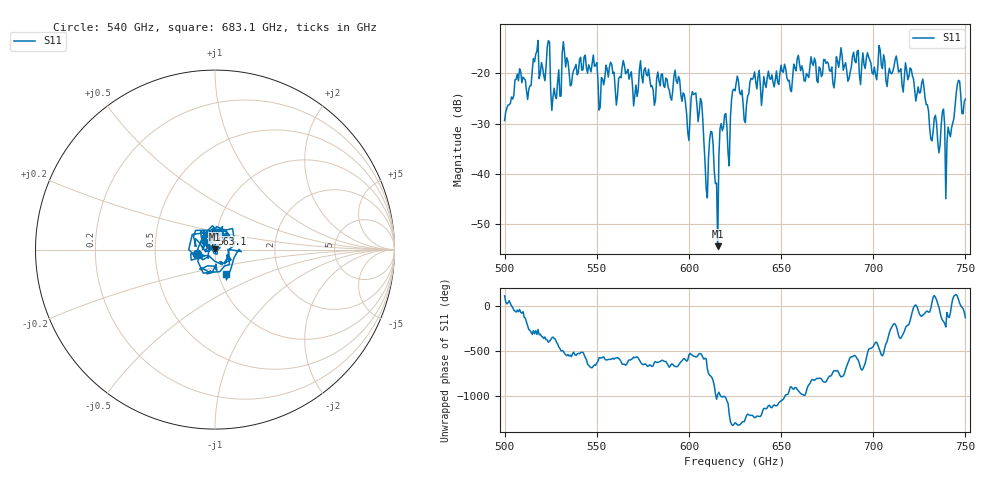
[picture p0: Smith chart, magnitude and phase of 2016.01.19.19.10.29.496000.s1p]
!Created with skrf (http://scikit-rf.org).
# GHz S RI R 50.0
!freq ReS11 ImS11
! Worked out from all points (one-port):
!   401 points, 500 GHz to 750 GHz, reference 50 ohm
!   lowest |S11| = -54.3 dB at 615.6 GHz (marker M1), VSWR 1.00, Z = 50 + j0.192 ohm
!   |S11| at or under -10 dB: start of sweep to end of sweep
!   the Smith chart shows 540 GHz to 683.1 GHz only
!   S11 on the Smith chart (normalised r, x): 540 GHz: 0.82, -0.04; 563.1 GHz: 0.95, +0.17; 683.1 GHz: 1.09, -0.30
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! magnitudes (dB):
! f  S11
! 500 GHz  -29.4
! 513.1 GHz  -23.1
! 516.9 GHz  -16.2
! 523.8 GHz  -13.5
! 526.9 GHz  -22.9
! 531.2 GHz  -15.9
! 540 GHz  -19.8
! 562.5 GHz  -20.6
! 563.1 GHz  -20.9
! 593.8 GHz  -22.0
! 599.4 GHz  -31.7
! 603.1 GHz  -24.0
! 606.9 GHz  -25.7
! 609.4 GHz  -43.0
! 611.9 GHz  -31.5
! 615.6 GHz  -54.3
! 618.1 GHz  -31.4
! 621.9 GHz  -38.4
! 625 GHz  -23.4
! 630.6 GHz  -29.7
! 634.4 GHz  -21.2
! 656.2 GHz  -20.9
! 683.1 GHz  -16.6
! 687.5 GHz  -19.8
! 718.8 GHz  -21.2
! 740.6 GHz  -30.7
! 745.6 GHz  -22.1
! 750 GHz  -25.1
